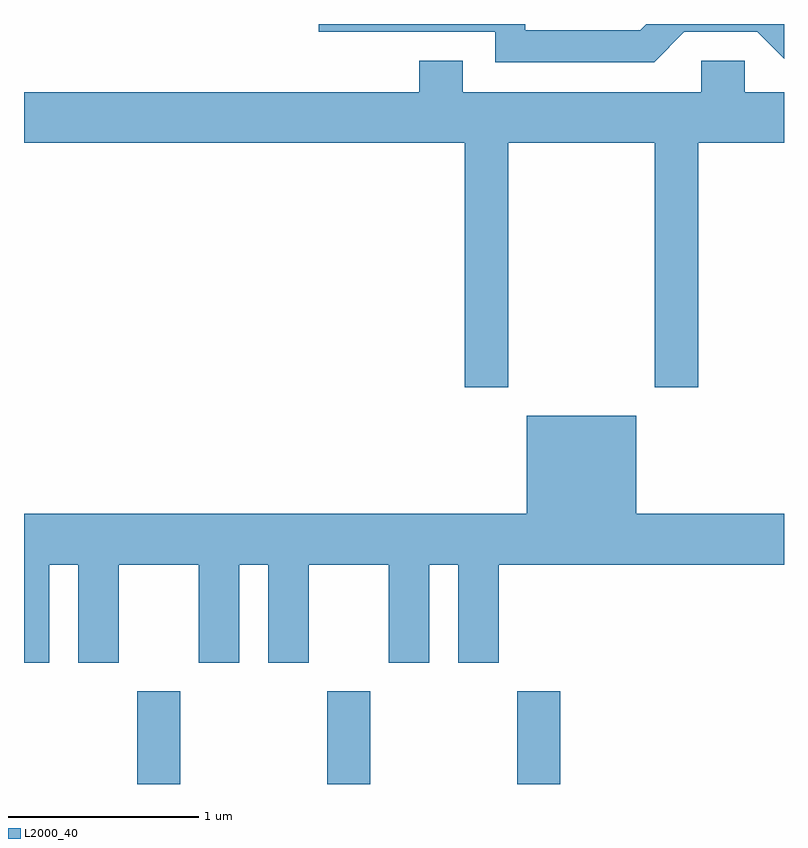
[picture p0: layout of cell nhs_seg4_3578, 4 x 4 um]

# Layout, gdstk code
import gdstk
lib = gdstk.Library(unit=1e-6, precision=1e-09)
def R(c, l, rs):  # rectangles x0, y0, x1, y1
    for r in rs: c.add(gdstk.rectangle(r[:2], r[2:], *l))
def A(c, l, x, y, w, h, nx, ny, dx, dy):  # array of equal rectangles
    R(c, l, [(x+i*dx, y+j*dy, x+i*dx+w, y+j*dy+h) for i in range(nx) for j in range(ny)])
def P(c, l, *ps):  # polygons
    for p in ps: c.add(gdstk.Polygon(p, *l))
L2000_40 = (2000, 40)

nhs_seg4_3578 = lib.new_cell('nhs_seg4_3578')
A(nhs_seg4_3578, L2000_40, 290.206, 1337.982, 0.228, 0.487, 3, 1, 1, 0)
P(nhs_seg4_3578, L2000_40, [(293.087,1341.941),(293.469,1341.941),(293.611,1341.799),(293.611,1341.982),(292.887,1341.982),(292.854,1341.949),(292.249,1341.949),(292.249,1341.982),(291.163,1341.982),(291.163,1341.941),(292.091,1341.941),(292.091,1341.781),(292.927,1341.781)],
  [(292.159,1341.356),(292.931,1341.356),(292.931,1340.071),(293.159,1340.071),(293.159,1341.356),(293.611,1341.356),(293.611,1341.624),(293.404,1341.624),(293.404,1341.789),(293.176,1341.789),(293.176,1341.624),(291.919,1341.624),(291.919,1341.789),(291.691,1341.789),(291.691,1341.624),(289.611,1341.624),(289.611,1341.356),(291.931,1341.356),(291.931,1340.071),(292.159,1340.071)],
  [(289.744,1339.136),(289.896,1339.136),(289.896,1338.621),(290.109,1338.621),(290.109,1339.136),(290.531,1339.136),(290.531,1338.621),(290.744,1338.621),(290.744,1339.136),(290.896,1339.136),(290.896,1338.621),(291.109,1338.621),(291.109,1339.136),(291.531,1339.136),(291.531,1338.621),(291.744,1338.621),(291.744,1339.136),(291.896,1339.136),(291.896,1338.621),(292.109,1338.621),(292.109,1339.136),(293.611,1339.136),(293.611,1339.404),(292.834,1339.404),(292.834,1339.919),(292.256,1339.919),(292.256,1339.404),(289.611,1339.404),(289.611,1338.621),(289.744,1338.621)])

lib.write_gds('nhs_seg4_3578.gds')
